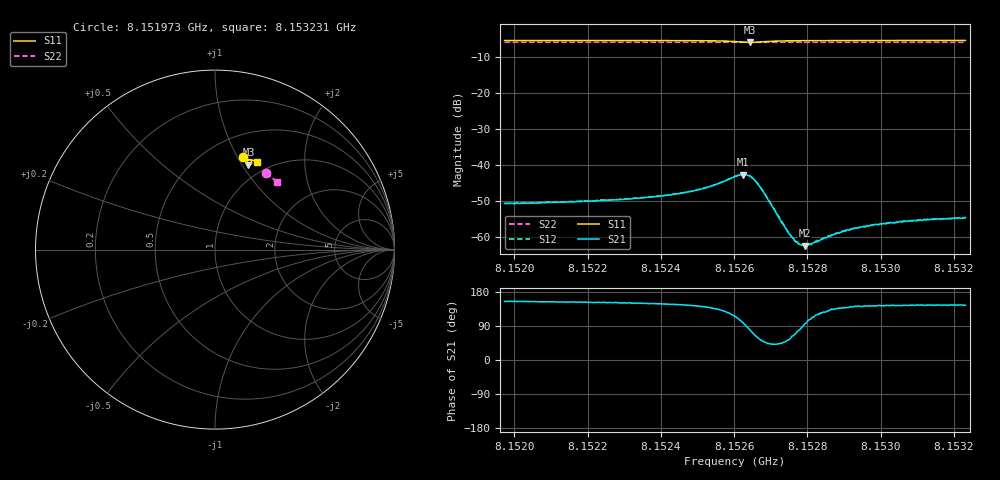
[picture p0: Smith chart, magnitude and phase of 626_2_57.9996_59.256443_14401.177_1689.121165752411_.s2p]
#  HZ  S  RI  R  50.00
! Rohde & Schwarz Vector Network Analyzer
! Rohde-Schwarz,ZNB20-2Port,1311601062101988,3.16
! Created: UTC 3/21/2024, 1:18:20 AM
! freq[Hz]  re:S11  im:S11  re:S21  im:S21  re:S12  im:S12  re:S22  im:S22
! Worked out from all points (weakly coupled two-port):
!   401 points, 8.151973 GHz to 8.153231 GHz, reference 50 ohm
!   highest |S21| = -42.60 dB at 8.152624 GHz (marker M1); lowest = -62.4 dB at 8.152794 GHz (marker M2)
!   lowest |S11| = -5.9 dB at 8.152643 GHz (marker M3), VSWR 3.07, Z = 41.8 + j53.4 ohm
!   |S11| at or under -10 dB: nowhere
!   |S22| runs from -5.9 to -5.8 dB; largest |S21 - S12| = 0.00015
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8.1519734e9  0.1554 0.5175  -0.00265 0.00125  -0.00266 0.00129  0.2848 0.4256
8.1521841e9  0.1706 0.513  -0.00281 0.00143  -0.00274 0.0015  0.2959 0.4176
8.1523099e9  0.1799 0.5096  -0.00294 0.00166  -0.00296 0.00172  0.3022 0.4129
8.1523948e9  0.1869 0.5068  -0.00317 0.00194  -0.00311 0.00199  0.3065 0.4094
8.1524577e9  0.1924 0.504  -0.0034 0.00232  -0.00338 0.00237  0.3097 0.407
8.1525143e9  0.1983 0.4997  -0.00368 0.00297  -0.00362 0.00303  0.3127 0.4045
8.1525583e9  0.203 0.4938  -0.0038 0.00405  -0.00378 0.00416  0.3148 0.4025
8.1526023e9  0.2038 0.4815  -0.00297 0.00626  -0.00288 0.00638  0.3166 0.4003
8.1526243e9  0.197 0.4738  -0.00103 0.00734  -0.000974 0.00741  0.3174 0.3992
8.1526432e9  0.1862 0.4734  0.00134 0.00688  0.00143 0.00695  0.3179 0.3988
8.1526589e9  0.1796 0.4792  0.00265 0.00532  0.00273 0.00535  0.3185 0.3984
8.1526746e9  0.1779 0.4866  0.00286 0.00365  0.00297 0.00367  0.3192 0.3982
8.1527281e9  0.1869 0.4992  0.00117 0.00116  0.00126 0.00114  0.3222 0.3962
8.1527532e9  0.1913 0.5004  0.0006 0.000897  0.000585 0.000894  0.3235 0.3954
8.1527721e9  0.1942 0.5008  0.000224 0.000825  0.000288 0.000797  0.3247 0.3945
8.1527941e9  0.197 0.5009  -7.73e-05 0.000753  -7.26e-05 0.000772  0.3258 0.3938
8.152813e9  0.1993 0.5006  -0.000317 0.000745  -0.00027 0.000774  0.3265 0.3928
8.1528727e9  0.2054 0.4994  -0.000755 0.000788  -0.000766 0.000806  0.3295 0.3903
8.1529262e9  0.21 0.4981  -0.001 0.000831  -0.001 0.000875  0.3323 0.3879
8.1530237e9  0.2176 0.4955  -0.00125 0.000917  -0.00127 0.000946  0.337 0.3838
8.1531243e9  0.2249 0.4929  -0.0014 0.00101  -0.00142 0.00103  0.3416 0.3796
8.1532312e9  0.2323 0.4897  -0.00152 0.00109  -0.00151 0.00112  0.3465 0.3748
